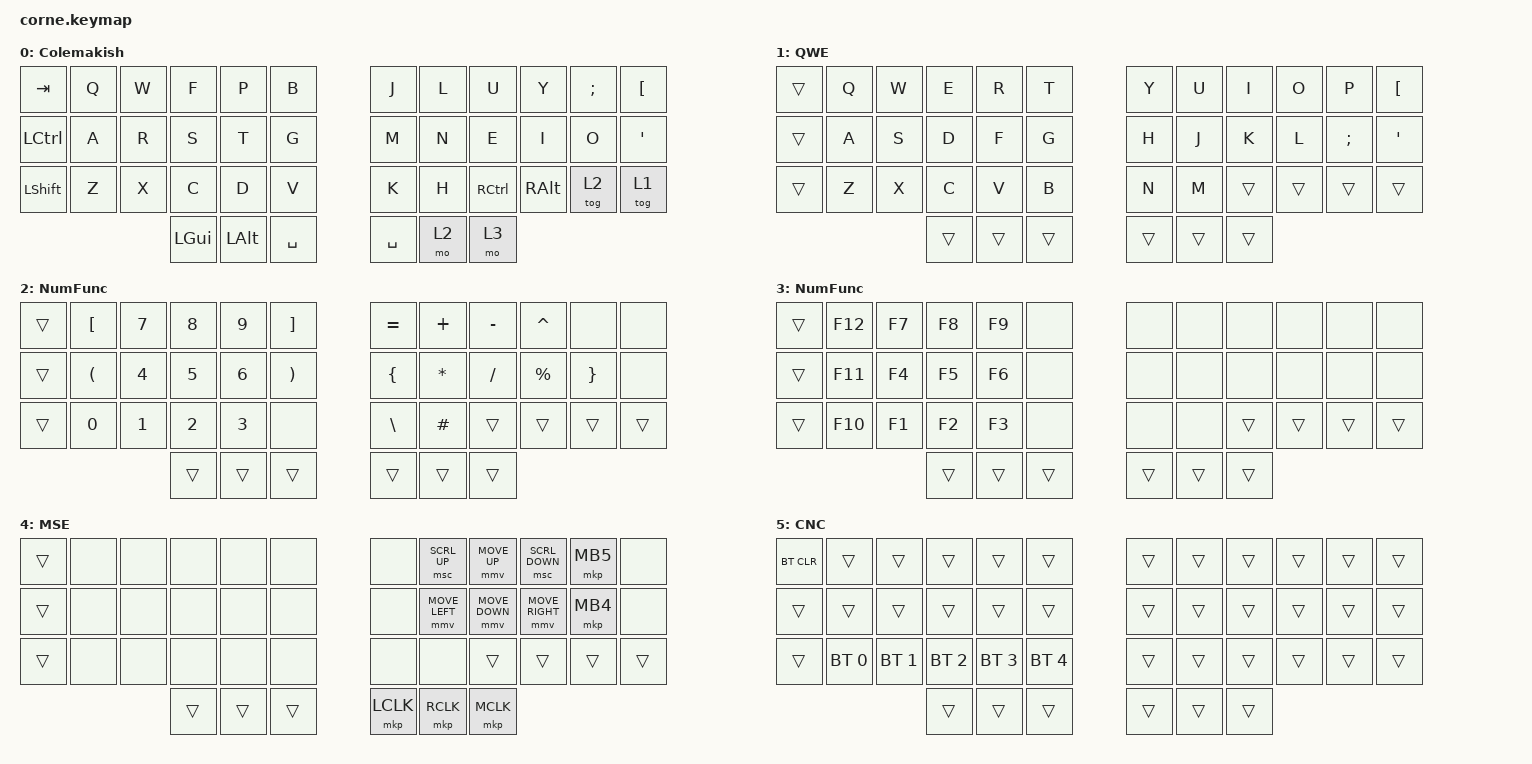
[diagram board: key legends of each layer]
/*
 * Copyright (c) 2020 The ZMK Contributors
 *
 * SPDX-License-Identifier: MIT
 */

#define ZMK_POINTING_DEFAULT_MOVE_VAL 700  // default: 1200
#define ZMK_POINTING_DEFAULT_SCRL_VAL 3    // default: 10

#include <behaviors.dtsi>
#include <dt-bindings/zmk/bt.h>
#include <dt-bindings/zmk/keys.h>
#include <dt-bindings/zmk/pointing.h>

/ {
    combos {
        compatible = "zmk,combos";

        ComboESC {
            bindings = <&kp ESC>;
            key-positions = <0 1>;
            layers = <0 1 2 4>;
        };

        ComboUndo {
            bindings = <&kp LC(Z)>;
            key-positions = <3 2>;
        };

        ComboRedo {
            bindings = <&kp LC(Y)>;
            key-positions = <3 4>;
        };

        ComboCopy {
            bindings = <&kp LC(C)>;
            key-positions = <14 15>;
        };

        ComboPaste {
            bindings = <&kp LC(V)>;
            key-positions = <16 15>;
        };

        ComboCut {
            bindings = <&kp LC(X)>;
            key-positions = <2 15>;
        };

        ComboSave {
            bindings = <&kp LC(S)>;
            key-positions = <15 28>;
        };

        ComboSelLine {
            bindings = <&MacroSelLine>;
            key-positions = <1 2>;
        };

        ComboChevron {
            bindings = <&kp LS(NON_US_BSLH)>;
            key-positions = <4 17>;
        };

        ComboLChevron {
            bindings = <&kp NON_US_BSLH>;
            key-positions = <7 18>;
            layers = <0 1 2 3>;
        };

        ComboDQuotes {
            bindings = <&kp LS(N2)>;
            key-positions = <4 5>;
        };

        ComboLEnter {
            bindings = <&kp KP_ENTER>;
            key-positions = <16 17>;
        };

        ComboREnter {
            bindings = <&kp KP_ENTER>;
            key-positions = <18 19>;
            layers = <0 2 1 3>;
        };

        ComboSelAll {
            bindings = <&kp LC(A)>;
            key-positions = <12 13>;
        };

        ComboBackspace {
            bindings = <&kp BACKSPACE>;
            key-positions = <20 19>;
            layers = <0 2 1 3>;
        };

        ComboBackWord {
            bindings = <&kp LC(BACKSPACE)>;
            key-positions = <21 22>;
            layers = <0 2 1 3>;
        };

        ComboDel {
            bindings = <&kp DEL>;
            key-positions = <21 39 19>;
            layers = <0 2 1 3>;
        };

        ComboDelWord {
            bindings = <&kp LC(DEL)>;
            key-positions = <22 20>;
            layers = <0 2 1 3>;
        };

        ComboLeft {
            bindings = <&kp LEFT_ARROW>;
            key-positions = <31 32>;
        };

        ComboRight {
            bindings = <&kp RIGHT_ARROW>;
            key-positions = <32 33>;
        };

        ComboLWord {
            bindings = <&kp LC(LEFT_ARROW)>;
            key-positions = <14 16>;
        };

        ComboRWord {
            bindings = <&kp LC(RIGHT_ARROW)>;
            key-positions = <17 15>;
        };

        ComboUp {
            bindings = <&kp UP_ARROW>;
            key-positions = <31 20>;
        };

        ComboDown {
            bindings = <&kp DOWN_ARROW>;
            key-positions = <20 33>;
        };

        ComboN1 {
            bindings = <&kp N1>;
            key-positions = <1 13>;
            layers = <0 1>;
        };

        ComboN2 {
            bindings = <&kp N2>;
            key-positions = <2 14>;
            layers = <1 0>;
        };

        ComboN3 {
            bindings = <&kp N3>;
            key-positions = <3 15>;
            layers = <1 0>;
        };

        ComboN4 {
            bindings = <&kp N4>;
            key-positions = <4 16>;
            layers = <1 0>;
        };

        ComboN5 {
            bindings = <&kp N5>;
            key-positions = <5 17>;
            layers = <1 0>;
        };

        ComboN6 {
            bindings = <&kp N6>;
            key-positions = <6 18>;
            layers = <0 1>;
        };

        ComboN7 {
            bindings = <&kp N7>;
            key-positions = <7 19>;
            layers = <0 1>;
        };

        ComboN8 {
            bindings = <&kp N8>;
            key-positions = <8 20>;
            layers = <0 1>;
        };

        ComboN9 {
            bindings = <&kp N9>;
            key-positions = <9 21>;
            layers = <0 1>;
        };

        ComboN0 {
            bindings = <&kp N0>;
            key-positions = <10 22>;
            layers = <0 1>;
        };

        Combo+ {
            bindings = <&kp MINUS>;
            key-positions = <11 23>;
            layers = <0 1>;
        };

        ComboGrTi {
            bindings = <&kp GRAVE>;
            key-positions = <13 25>;
            layers = <1 0>;
        };

        ComboHome {
            bindings = <&kp HOME>;
            key-positions = <8 9>;
            layers = <0 2 1 3>;
        };

        ComboEnd {
            bindings = <&kp END>;
            key-positions = <9 10>;
            layers = <0 2 1 3>;
        };

        ComboPGUP {
            bindings = <&kp PAGE_UP>;
            key-positions = <9 20>;
            layers = <0 2 1 3>;
        };

        ComboPGDN {
            bindings = <&kp PAGE_DOWN>;
            key-positions = <9 22>;
            layers = <0 2 1 3>;
        };

        ComboBackslagPipe {
            bindings = <&kp LS(N7)>;
            key-positions = <30 19>;
            layers = <0 1>;
        };

        ComboBackslash {
            bindings = <&kp RA(NON_US_BSLH)>;
            key-positions = <16 29>;
            layers = <0 1>;
        };

        ComboLine {
            bindings = <&kp SLASH>;
            key-positions = <6 7>;
            layers = <0 1>;
        };

        ComboAposAst {
            bindings = <&kp BSLH>;
            key-positions = <22 23>;
            layers = <0 2 1 3>;
        };

        ComboAccent {
            bindings = <&kp EQUAL>;
            key-positions = <6 7>;
            layers = <0 1>;
        };

        ComboExcl {
            bindings = <&kp LS(N1)>;
            key-positions = <31 8>;
            layers = <0 2 1 3>;
        };

        ComboQMark {
            bindings = <&kp LS(MINUS)>;
            key-positions = <9 19>;
            layers = <0 2 1 3>;
        };

        ComboAT {
            bindings = <&kp RA(N2)>;
            key-positions = <13 16>;
            layers = <0 1>;
        };

        ComboLBrace {
            bindings = <&kp RA(N7)>;
            key-positions = <15 27>;
            layers = <1 0>;
        };

        ComboLPar {
            bindings = <&kp LS(N8)>;
            key-positions = <28 16>;
            layers = <1 0>;
        };

        ComboLBrackBrace {
            bindings = <&kp RA(N8)>;
            key-positions = <17 29>;
            layers = <0 1>;
        };

        ComboRBrackBrace {
            bindings = <&kp RA(N9)>;
            key-positions = <18 30>;
            layers = <0 1>;
        };

        ComboRPar {
            bindings = <&kp LS(N9)>;
            key-positions = <19 31>;
            layers = <0 1>;
        };

        ComboRBrace {
            bindings = <&kp RA(N0)>;
            key-positions = <20 32>;
            layers = <0 1>;
        };

        Combo_Umlaut {
            bindings = <&kp RBKT>;
            key-positions = <11 10>;
            layers = <0 1>;
        };

        ComboComma {
            bindings = <&kp COMMA>;
            key-positions = <19 8>;
            layers = <0 2 1 3>;
        };

        ComboPeriod {
            bindings = <&kp PERIOD>;
            key-positions = <21 19>;
            layers = <0 2 1 3>;
        };

        Combo_MoConnects {
            bindings = <&mo 5>;
            key-positions = <40 41>;
        };

        Combo_Space {
            bindings = <&kp SPACE>;
            key-positions = <38 39>;
        };

        ComboTogMouse {
            bindings = <&tog 4>;
            key-positions = <34 35>;
        };

        ComboMoMouse {
            bindings = <&mo 4>;
            key-positions = <37 38>;
            layers = <4>;
        };

        Combo_Pipe {
            bindings = <&kp PIPE>;
            key-positions = <33 21>;
            layers = <0 2 1>;
        };
    };

    ComboAT {
        bindings = <&kp AT>;
        key-positions = <13 16>;
    };

    macros {
        MacroSelLine: MacroSelLine {
            compatible = "zmk,behavior-macro";
            #binding-cells = <0>;
            bindings = <&kp HOME &kp LS(END)>;
            label = "MACROSELLINE";
        };
    };

    keymap {
        compatible = "zmk,keymap";

        L_Base {
            display-name = "Colemakish";
            bindings = <
&kp TAB    &kp Q  &kp W  &kp F     &kp P     &kp B        &kp J      &kp L  &kp U      &kp Y     &kp SEMI  &kp LBKT
&kp LCTRL  &kp A  &kp R  &kp S     &kp T     &kp G        &kp M      &kp N  &kp E      &kp I     &kp O     &kp APOS
&kp LSHFT  &kp Z  &kp X  &kp C     &kp D     &kp V        &kp K      &kp H  &kp RCTRL  &kp RALT  &tog 2    &tog 1
                         &kp LGUI  &kp LALT  &kp SPACE    &kp SPACE  &mo 2  &mo 3
            >;

            label = "BSE";
        };

        L_Qwerty {
            bindings = <
&trans  &kp Q  &kp W  &kp E   &kp R   &kp T     &kp Y   &kp U   &kp I   &kp O   &kp P     &kp LBKT
&trans  &kp A  &kp S  &kp D   &kp F   &kp G     &kp H   &kp J   &kp K   &kp L   &kp SEMI  &kp APOSTROPHE
&trans  &kp Z  &kp X  &kp C   &kp V   &kp B     &kp N   &kp M   &trans  &trans  &trans    &trans
                      &trans  &trans  &trans    &trans  &trans  &trans
            >;

            label = "QWE";
        };

        L_Numbers {
            display-name = "NumFunc";
            bindings = <
&trans  &kp LEFT_BRACKET  &kp N7  &kp N8  &kp N9  &kp RIGHT_BRACKET    &kp EQUAL       &kp PLUS   &kp MINUS  &kp CARET  &none            &none
&trans  &kp LPAR          &kp N4  &kp N5  &kp N6  &kp RPAR             &kp LEFT_BRACE  &kp ASTRK  &kp SLASH  &kp PRCNT  &kp RIGHT_BRACE  &none
&trans  &kp N0            &kp N1  &kp N2  &kp N3  &none                &kp BACKSLASH   &kp HASH   &trans     &trans     &trans           &trans
                                  &trans  &trans  &trans               &trans          &trans     &trans
            >;

            label = "NUM";
        };

        L_Function {
            display-name = "NumFunc";
            bindings = <
&trans  &kp F12  &kp F7  &kp F8  &kp F9  &none     &none   &none   &none   &none   &none   &none
&trans  &kp F11  &kp F4  &kp F5  &kp F6  &none     &none   &none   &none   &none   &none   &none
&trans  &kp F10  &kp F1  &kp F2  &kp F3  &none     &none   &none   &trans  &trans  &trans  &trans
                         &trans  &trans  &trans    &trans  &trans  &trans
            >;

            label = "FNC";
        };

        L_Mouse {
            bindings = <
&trans  &none  &none  &none   &none   &none     &none      &msc SCRL_UP    &mmv MOVE_UP    &msc SCRL_DOWN   &mkp MB5  &none
&trans  &none  &none  &none   &none   &none     &none      &mmv MOVE_LEFT  &mmv MOVE_DOWN  &mmv MOVE_RIGHT  &mkp MB4  &none
&trans  &none  &none  &none   &none   &none     &none      &none           &trans          &trans           &trans    &trans
                      &trans  &trans  &trans    &mkp LCLK  &mkp RCLK       &mkp MCLK
            >;

            label = "MSE";
        };

        L_Connection {
            bindings = <
&bt BT_CLR  &trans        &trans        &trans        &trans        &trans          &trans  &trans  &trans  &trans  &trans  &trans
&trans      &trans        &trans        &trans        &trans        &trans          &trans  &trans  &trans  &trans  &trans  &trans
&trans      &bt BT_SEL 0  &bt BT_SEL 1  &bt BT_SEL 2  &bt BT_SEL 3  &bt BT_SEL 4    &trans  &trans  &trans  &trans  &trans  &trans
                                        &trans        &trans        &trans          &trans  &trans  &trans
            >;

            label = "CNC";
        };
    };
};
